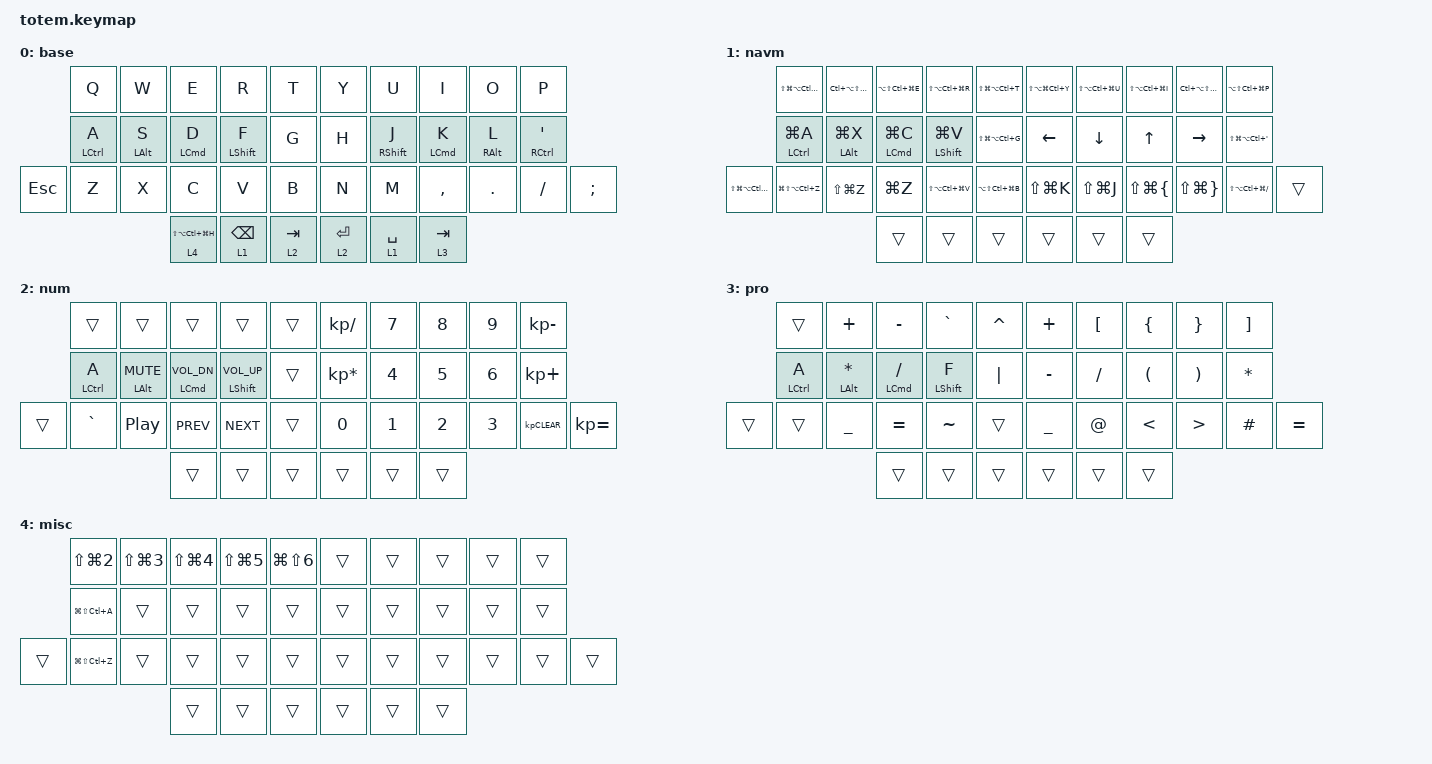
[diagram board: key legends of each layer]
//
//                                                        ▀▀▀▀▀     ▀▀▀▀▀          ▀▀█▀▀
//                                                        ▄▀▀▀▄  ▄  ▄▀▀▀▄  ▄  ▄▀▀▀▄  █  ▄▀▀▀▄
//                                                        █   █  █  █   █  █  █   █  █  █   █
//                                                         ▀▀▀   █   ▀▀▀   █   ▀▀▀   ▀   ▀▀▀
//                                                               █      ▄▄▄█▄▄▄    █   █  
//                                                               ▀      █  █  █     █▄█
//                                                             ▀▀▀▀▀    █  █  █      ▀
//                                                                      ▀  ▀  ▀
//
// ▄▄▄▄▄▄▄▄▄▄▄▄▄▄▄▄▄▄▄▄▄▄▄▄▄▄▄▄▄▄▄▄▄▄▄▄▄▄▄▄▄▄▄▄▄▄▄▄▄▄▄▄▄▄▄▄▄▄▄▄▄▄▄▄▄▄▄▄▄▄▄▄▄▄▄▄▄▄▄▄▄▄▄▄▄▄▄▄▄▄▄▄▄▄▄▄▄▄▄▄▄▄▄▄▄▄▄▄▄▄▄▄▄▄▄▄▄▄▄▄▄▄▄▄▄▄▄▄▄▄▄▄▄▄▄▄▄▄▄▄▄▄▄▄▄▄▄▄▄▄▄

#include <behaviors.dtsi>
#include <dt-bindings/zmk/keys.h>

#define BASE 0
#define NAV  1
#define SYM  2
#define PRO  3
#define MISC 4

/ {
    combos {
        compatible = "zmk,combos";

        // Global combo timeout setting

        global-quick-tap-ms = <75>;

        win1 {
            bindings = <&kp LS(LA(LC(R)))>;
            key-positions = <13 3>;
            layers = <1>;
            timeout-ms = <100>;
        };

        win2 {
            bindings = <&kp LS(LA(LC(E)))>;
            key-positions = <12 2>;
            layers = <1>;
            timeout-ms = <100>;
        };

        win3 {
            bindings = <&kp LS(LA(LC(Q)))>;
            key-positions = <11 1>;
            layers = <1>;
            timeout-ms = <100>;
        };

        win4 {
            bindings = <&kp LA(LC(LS(V)))>;
            key-positions = <13 24>;
            layers = <1>;
            timeout-ms = <100>;
        };

        win5 {
            bindings = <&kp LS(LA(LC(C)))>;
            key-positions = <12 23>;
            layers = <1>;
            timeout-ms = <100>;
        };

        win6 {
            bindings = <&kp LS(LA(LC(X)))>;
            key-positions = <22 11>;
            layers = <1>;
            timeout-ms = <100>;
        };

        left_space {
            bindings = <&kp SPACE>;
            key-positions = <11 12>;
            timeout-ms = <100>;
        };

        enter {
            bindings = <&kp ENTER>;
            key-positions = <12 13>;
            timeout-ms = <100>;
        };

        esc {
            bindings = <&kp ESC>;
            key-positions = <1 2>;
            timeout-ms = <100>;
        };

        at {
            bindings = <&kp AT_SIGN>;
            key-positions = <1 11>;
            timeout-ms = <100>;
        };

        hash {
            bindings = <&kp HASH>;
            key-positions = <2 12>;
            timeout-ms = <100>;
        };

        dollar {
            bindings = <&kp DOLLAR>;
            key-positions = <3 13>;
            timeout-ms = <100>;
        };

        copy {
            bindings = <&kp LG(C)>;
            key-positions = <22 23>;
            timeout-ms = <100>;
        };

        paste {
            bindings = <&kp LG(V)>;
            key-positions = <24 23>;
            timeout-ms = <100>;
        };

        slash {
            bindings = <&kp SLASH>;
            key-positions = <12 23>;
            timeout-ms = <100>;
        };

        backspace {
            bindings = <&kp BACKSPACE>;
            key-positions = <6 7>;
            timeout-ms = <100>;
        };

        delete {
            bindings = <&kp DELETE>;
            key-positions = <8 7>;
            timeout-ms = <100>;
        };

        left-paren {
            bindings = <&kp LEFT_PARENTHESIS>;
            key-positions = <16 17>;
            timeout-ms = <100>;
        };

        right_paren {
            bindings = <&kp RIGHT_PARENTHESIS>;
            key-positions = <17 18>;
            timeout-ms = <100>;
        };

        left_brace {
            bindings = <&kp LEFT_BRACE>;
            key-positions = <27 28>;
            timeout-ms = <100>;
        };

        right_brace {
            bindings = <&kp RIGHT_BRACE>;
            key-positions = <28 29>;
            timeout-ms = <100>;
        };

        underscore {
            bindings = <&kp UNDERSCORE>;
            key-positions = <27 16>;
            timeout-ms = <100>;
        };

        dash {
            bindings = <&kp MINUS>;
            key-positions = <6 16>;
            timeout-ms = <100>;
        };

        shift-return {
            bindings = <&kp LS(ENTER)>;
            key-positions = <28 17>;
            timeout-ms = <100>;
        };

        exclimation {
            bindings = <&kp EXCLAMATION>;
            key-positions = <0 10>;
            timeout-ms = <100>;
        };

        slash-right {
            bindings = <&kp SLASH>;
            key-positions = <7 17>;
            timeout-ms = <100>;
        };

        less-than {
            bindings = <&kp LESS_THAN>;
            key-positions = <8 18>;
            timeout-ms = <100>;
        };

        greater-than {
            bindings = <&kp GREATER_THAN>;
            key-positions = <18 29>;
            timeout-ms = <100>;
        };
    };

    behaviors {
        hr: hr {
            compatible = "zmk,behavior-hold-tap";
            label = "HR";
            bindings = <&kp>, <&kp>;

            #binding-cells = <2>;
            tapping-term-ms = <180>;
            require-prior-idle-ms = <100>;
            flavor = "tap-preferred";
            quick-tap-ms = <150>;
        };
    };

    keymap {
        compatible = "zmk,keymap";

        // ▄▄▄▄▄▄▄▄▄▄▄▄▄▄▄▄▄▄▄▄▄▄▄▄▄▄▄▄▄▄▄▄▄▄▄▄▄▄▄▄▄▄▄▄▄▄▄▄▄▄▄▄▄▄▄▄▄▄▄▄▄▄▄▄▄▄▄▄▄▄▄▄▄▄▄▄▄▄▄▄▄▄▄▄▄▄▄▄▄▄▄▄▄▄▄▄▄▄▄▄▄▄▄▄▄▄▄▄▄▄▄▄▄▄▄▄▄▄▄▄▄▄▄▄▄▄▄▄▄▄▄▄▄▄▄▄▄▄▄▄▄▄▄▄▄▄▄▄▄

        base {
            // ┏━━━━━━━━━━━━━━━━━━━━━━━━━━━━━━━━━━━━━━━┓

            label = "base";

            // ┗━━━━━━━━━━━━━━━━━━━━━━━━━━━━━━━━━━━━━━━┛
            //             ┏━━━━━━━━━━━┳━━━━━━━━━━━┳━━━━━━━━━━━┳━━━━━━━━━━━┳━━━━━━━━━━━┓   ┏━━━━━━━━━━━┳━━━━━━━━━━━┳━━━━━━━━━━━┳━━━━━━━━━━━┳━━━━━━━━━━━┓
            //             ┃     Q     ┃     W     ┃     F     ┃     P     ┃     G     ┃   ┃     J     ┃     L     ┃     U     ┃     Y     ┃     ;     ┃
            //             ┣━━━━━━━━━━━╋━━━━━━━━━━━╋━━━━━━━━━━━╋━━━━━━━━━━━╋━━━━━━━━━━━┫   ┣━━━━━━━━━━━╋━━━━━━━━━━━╋━━━━━━━━━━━╋━━━━━━━━━━━╋━━━━━━━━━━━┫
            //             ┃     A     ┃     R     ┃     S     ┃     T     ┃     D     ┃   ┃     H     ┃     N     ┃     E     ┃     I     ┃     O     ┃
            // ┏━━━━━━━━━━━╋━━━━━━━━━━━╋━━━━━━━━━━━╋━━━━━━━━━━━╋━━━━━━━━━━━╋━━━━━━━━━━━┫   ┣━━━━━━━━━━━╋━━━━━━━━━━━╋━━━━━━━━━━━╋━━━━━━━━━━━╋━━━━━━━━━━━╋━━━━━━━━━━━┓
            // ┃     Q     ┃     Z     ┃     X     ┃     C     ┃     V     ┃     B     ┃   ┃     K     ┃     M     ┃     ,     ┃     .     ┃     /     ┃     \     ┃
            // ┗━━━━━━━━━━━┻━━━━━━━━━━━┻━━━━━━━━━━━╋━━━━━━━━━━━╋━━━━━━━━━━━╋━━━━━━━━━━━┫   ┣━━━━━━━━━━━╋━━━━━━━━━━━╋━━━━━━━━━━━╋━━━━━━━━━━━┻━━━━━━━━━━━┻━━━━━━━━━━━┛
            //                                     ┃    DEL    ┃    TAB    ┃    SPC    ┃   ┃   ENTER   ┃           ┃   BSPC    ┃
            //                                     ┗━━━━━━━━━━━┻━━━━━━━━━━━┻━━━━━━━━━━━┛   ┗━━━━━━━━━━━┻━━━━━━━━━━━┻━━━━━━━━━━━┛

            bindings = <
            &kp Q               &kp W           &kp E                    &kp R             &kp T        &kp Y        &kp U              &kp I               &kp O            &kp P
            &hr LEFT_CONTROL A  &hr LEFT_ALT S  &hr LEFT_COMMAND D       &hr LEFT_SHIFT F  &kp G        &kp H        &hr RIGHT_SHIFT J  &hr LEFT_COMMAND K  &hr RIGHT_ALT L  &hr RIGHT_CONTROL APOS
&kp ESCAPE  &kp Z               &kp X           &kp C                    &kp V             &kp B        &kp N        &kp M              &kp COMMA           &kp DOT          &kp FSLH                &kp SEMI
                                                &lt 4 LS(LA(LC(LG(H))))  &lt 1 BACKSPACE   &lt 2 TAB    &lt 2 ENTER  &lt 1 SPACE        &lt 3 TAB
            >;
        };

        navm {
            // ┏━━━━━━━━━━━━━━━━━━━━━━━━━━━━━━━━━━━━━━━┓

            label = "navm";

            // ┗━━━━━━━━━━━━━━━━━━━━━━━━━━━━━━━━━━━━━━━┛
            //             ┏━━━━━━━━━━━┳━━━━━━━━━━━┳━━━━━━━━━━━┳━━━━━━━━━━━┳━━━━━━━━━━━┓   ┏━━━━━━━━━━━┳━━━━━━━━━━━┳━━━━━━━━━━━┳━━━━━━━━━━━┳━━━━━━━━━━━┓
            //             ┃     !     ┃     @     ┃     #     ┃     $     ┃     %     ┃   ┃     ˆ     ┃     &     ┃     Ü     ┃     '     ┃     "     ┃
            //             ┣━━━━━━━━━━━╋━━━━━━━━━━━╋━━━━━━━━━━━╋━━━━━━━━━━━╋━━━━━━━━━━━┫   ┣━━━━━━━━━━━╋━━━━━━━━━━━╋━━━━━━━━━━━╋━━━━━━━━━━━╋━━━━━━━━━━━┫
            //             ┃     Ä     ┃           ┃    SZ     ┃           ┃           ┃   ┃   MUTE    ┃   YEN     ┃   EURO    ┃  POUND    ┃     Ö     ┃
            // ┏━━━━━━━━━━━╋━━━━━━━━━━━╋━━━━━━━━━━━╋━━━━━━━━━━━╋━━━━━━━━━━━╋━━━━━━━━━━━┫   ┣━━━━━━━━━━━╋━━━━━━━━━━━╋━━━━━━━━━━━╋━━━━━━━━━━━╋━━━━━━━━━━━╋━━━━━━━━━━━┓
            // ┃           ┃  EMAIL1   ┃  EMAIL2   ┃           ┃           ┃           ┃   ┃   VOL-    ┃   VOL+    ┃   LAST    ┃   NEXT    ┃     \     ┃           ┃
            // ┗━━━━━━━━━━━┻━━━━━━━━━━━┻━━━━━━━━━━━╋━━━━━━━━━━━╋━━━━━━━━━━━╋━━━━━━━━━━━┫   ┣━━━━━━━━━━━╋━━━━━━━━━━━╋━━━━━━━━━━━╋━━━━━━━━━━━┻━━━━━━━━━━━┻━━━━━━━━━━━┛
            //                                     ┃           ┃    GIF    ┃    ADJ    ┃   ┃           ┃           ┃           ┃
            //                                     ┗━━━━━━━━━━━┻━━━━━━━━━━━┻━━━━━━━━━━━┛   ┗━━━━━━━━━━━┻━━━━━━━━━━━┻━━━━━━━━━━━┛

            bindings = <
                            &kp LS(LG(LA(LC(Q))))   &kp LC(LA(LS(LG(W))))  &kp LA(LS(LC(LG(E))))   &kp LS(LA(LC(LG(R))))  &kp LS(LG(LA(LC(T))))    &kp LS(LA(LG(LC(Y))))  &kp LS(LA(LC(LG(U))))  &kp LS(LA(LC(LG(I))))   &kp LC(LA(LS(LG(O))))    &kp LA(LS(LC(LG(P))))
                            &hr LEFT_CONTROL LG(A)  &hr LEFT_ALT LG(X)     &hr LEFT_COMMAND LG(C)  &hr LEFT_SHIFT LG(V)   &kp LS(LG(LA(LC(G))))    &kp LEFT               &kp DOWN               &kp UP_ARROW            &kp RIGHT                &kp LS(LG(LA(LC(SQT))))
&kp LS(LG(LA(LC(ESCAPE))))  &kp LG(LS(LA(LC(Z))))   &kp LS(LG(Z))          &kp LG(Z)               &kp LS(LA(LC(LG(V))))  &kp LA(LS(LC(LG(B))))    &kp LS(LG(K))          &kp LS(LG(J))          &kp LS(LG(LEFT_BRACE))  &kp LS(LG(RIGHT_BRACE))  &kp LS(LA(LC(LG(SLASH))))  &trans
                                                                           &trans                  &trans                 &trans                   &trans                 &trans                 &trans
            >;
        };

        num {
            // ┏━━━━━━━━━━━━━━━━━━━━━━━━━━━━━━━━━━━━━━━┓

            label = "num";

            // ┗━━━━━━━━━━━━━━━━━━━━━━━━━━━━━━━━━━━━━━━┛
            //             ┏━━━━━━━━━━━┳━━━━━━━━━━━┳━━━━━━━━━━━┳━━━━━━━━━━━┳━━━━━━━━━━━┓   ┏━━━━━━━━━━━┳━━━━━━━━━━━┳━━━━━━━━━━━┳━━━━━━━━━━━┳━━━━━━━━━━━┓
            //             ┃           ┃           ┃     UP    ┃           ┃     {     ┃   ┃     }     ┃     7     ┃     8     ┃     9     ┃     +     ┃
            //             ┣━━━━━━━━━━━╋━━━━━━━━━━━╋━━━━━━━━━━━╋━━━━━━━━━━━╋━━━━━━━━━━━┫   ┣━━━━━━━━━━━╋━━━━━━━━━━━╋━━━━━━━━━━━╋━━━━━━━━━━━╋━━━━━━━━━━━┫
            //             ┃   SHIFT   ┃   LEFT    ┃    DOWN   ┃   RIGHT   ┃     [     ┃   ┃     ]     ┃     4     ┃     5     ┃     6     ┃     -     ┃
            // ┏━━━━━━━━━━━╋━━━━━━━━━━━╋━━━━━━━━━━━╋━━━━━━━━━━━╋━━━━━━━━━━━╋━━━━━━━━━━━┫   ┣━━━━━━━━━━━╋━━━━━━━━━━━╋━━━━━━━━━━━╋━━━━━━━━━━━╋━━━━━━━━━━━╋━━━━━━━━━━━┓
            // ┃           ┃           ┃   P UP    ┃  C LOCK   ┃  P DOWN   ┃     (     ┃   ┃     )     ┃     1     ┃     2     ┃     3     ┃     *     ┃           ┃
            // ┗━━━━━━━━━━━┻━━━━━━━━━━━┻━━━━━━━━━━━╋━━━━━━━━━━━╋━━━━━━━━━━━╋━━━━━━━━━━━┫   ┣━━━━━━━━━━━╋━━━━━━━━━━━╋━━━━━━━━━━━╋━━━━━━━━━━━┻━━━━━━━━━━━┻━━━━━━━━━━━┛
            //                                     ┃           ┃    TAB    ┃    SPC    ┃   ┃    DEL    ┃     0     ┃           ┃
            //                                     ┗━━━━━━━━━━━┻━━━━━━━━━━━┻━━━━━━━━━━━┛   ┗━━━━━━━━━━━┻━━━━━━━━━━━┻━━━━━━━━━━━┛

            bindings = <
        &trans              &trans               &trans                     &trans                   &trans    &kp KP_DIVIDE    &kp N7        &kp N8        &kp N9        &kp KP_MINUS
        &hr LEFT_CONTROL A  &hr LEFT_ALT K_MUTE  &hr LEFT_COMMAND C_VOL_DN  &hr LEFT_SHIFT C_VOL_UP  &trans    &kp KP_MULTIPLY  &kp NUMBER_4  &kp N5        &kp NUMBER_6  &kp KP_PLUS
&trans  &kp GRAVE           &kp C_PP             &kp C_PREV                 &kp C_NEXT               &trans    &kp N0           &kp NUMBER_1  &kp NUMBER_2  &kp NUMBER_3  &kp KP_CLEAR  &kp KP_EQUAL
                                                 &trans                     &trans                   &trans    &trans           &trans        &trans
            >;
        };

        pro {
            bindings = <
        &trans              &kp PLUS               &kp MINUS               &kp GRAVE         &kp CARET    &kp PLUS        &kp LEFT_BRACKET  &kp LEFT_BRACE        &kp RIGHT_BRACE        &kp RIGHT_BRACKET
        &hr LEFT_CONTROL A  &hr LEFT_ALT ASTERISK  &hr LEFT_COMMAND SLASH  &hr LEFT_SHIFT F  &kp PIPE     &kp MINUS       &kp SLASH         &kp LEFT_PARENTHESIS  &kp RIGHT_PARENTHESIS  &kp ASTERISK
&trans  &trans              &kp UNDERSCORE         &kp EQUAL               &kp TILDE         &trans       &kp UNDERSCORE  &kp AT_SIGN       &kp LESS_THAN         &kp GREATER_THAN       &kp HASH           &kp EQUAL
                                                   &trans                  &trans            &trans       &trans          &trans            &trans
            >;

            label = "pro";
        };

        misc {
            bindings = <
        &kp LS(LG(NUMBER_2))  &kp LS(LG(NUMBER_3))  &kp LS(LG(NUMBER_4))  &kp LS(LG(NUMBER_5))  &kp LG(LS(NUMBER_6))    &trans  &trans  &trans  &trans  &trans
        &kp LG(LS(LC(A)))     &trans                &trans                &trans                &trans                  &trans  &trans  &trans  &trans  &trans
&trans  &kp LG(LS(LC(Z)))     &trans                &trans                &trans                &trans                  &trans  &trans  &trans  &trans  &trans  &trans
                                                    &trans                &trans                &trans                  &trans  &trans  &trans
            >;
        };

        // ▄▄▄▄▄▄▄▄▄▄▄▄▄▄▄▄▄▄▄▄▄▄▄▄▄▄▄▄▄▄▄▄▄▄▄▄▄▄▄▄▄▄▄▄▄▄▄▄▄▄▄▄▄▄▄▄▄▄▄▄▄▄▄▄▄▄▄▄▄▄▄▄▄▄▄▄▄▄▄▄▄▄▄▄▄▄▄▄▄▄▄▄▄▄▄▄▄▄▄▄▄▄▄▄▄▄▄▄▄▄▄▄▄▄▄▄▄▄▄▄▄▄▄▄▄▄▄▄▄▄▄▄▄▄▄▄▄▄▄▄▄▄▄▄▄▄▄▄▄▄▄▄
        // ▄▄▄▄▄▄▄▄▄▄▄▄▄▄▄▄▄▄▄▄▄▄▄▄▄▄▄▄▄▄▄▄▄▄▄▄▄▄▄▄▄▄▄▄▄▄▄▄▄▄▄▄▄▄▄▄▄▄▄▄▄▄▄▄▄▄▄▄▄▄▄▄▄▄▄▄▄▄▄▄▄▄▄▄▄▄▄▄▄▄▄▄▄▄▄▄▄▄▄▄▄▄▄▄▄▄▄▄▄▄▄▄▄▄▄▄▄▄▄▄▄▄▄▄▄▄▄▄▄▄▄▄▄▄▄▄▄▄▄▄▄▄▄▄▄▄▄▄
        // ▄▄▄▄▄▄▄▄▄▄▄▄▄▄▄▄▄▄▄▄▄▄▄▄▄▄▄▄▄▄▄▄▄▄▄▄▄▄▄▄▄▄▄▄▄▄▄▄▄▄▄▄▄▄▄▄▄▄▄▄▄▄▄▄▄▄▄▄▄▄▄▄▄▄▄▄▄▄▄▄▄▄▄▄▄▄▄▄▄▄▄▄▄▄▄▄▄▄▄▄▄▄▄▄▄▄▄▄▄▄▄▄▄▄▄▄▄▄▄▄▄▄▄▄▄▄▄▄▄▄▄▄▄▄▄▄▄▄▄▄▄▄▄▄▄▄▄▄▄
    };
};
